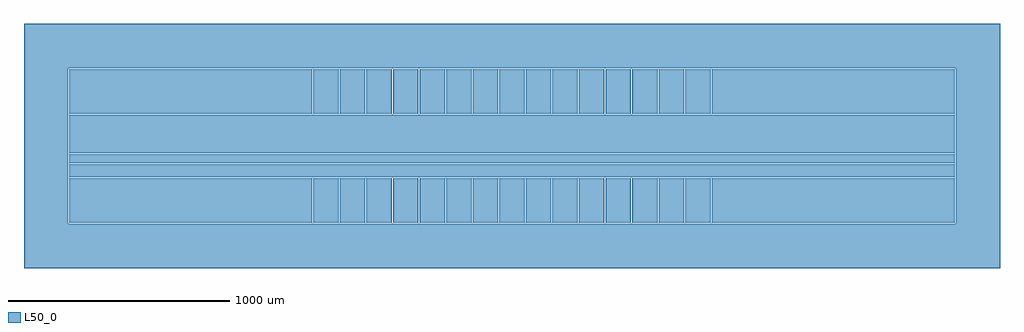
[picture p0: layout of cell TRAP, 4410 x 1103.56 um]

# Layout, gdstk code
import gdstk
lib = gdstk.Library(unit=1e-6, precision=1e-09)
def R(c, l, rs):  # rectangles x0, y0, x1, y1
    for r in rs: c.add(gdstk.rectangle(r[:2], r[2:], *l))
def A(c, l, x, y, w, h, nx, ny, dx, dy):  # array of equal rectangles
    R(c, l, [(x+i*dx, y+j*dy, x+i*dx+w, y+j*dy+h) for i in range(nx) for j in range(ny)])
def P(c, l, *ps):  # polygons
    for p in ps: c.add(gdstk.Polygon(p, *l))
L50_0 = (50, 0)

trap = lib.new_cell('TRAP')
A(trap, L50_0, -897.5, -288.39, 115, 200, 15, 2, 120, 493.56)
R(trap, L50_0, [(-2000,-288.39,-902.5,-88.39), (902.5,-288.39,2000,-88.39), (-2000,-83.39,2000,-25), (-2000,-20,2000,20), (-2000,25,2000,200.17), (-2000,205.17,-902.5,405.17), (902.5,205.17,2000,405.17)])
P(trap, L50_0, [(2205,610.17),(-2205,610.17),(-2205,-293.39),(-2005,-293.39),(-2005,410.17),(2005,410.17),(2005,-293.39),(-2005,-293.39),(-2205,-293.39),(-2205,-493.39),(2205,-493.39)])

lib.write_gds('TRAP.gds')
